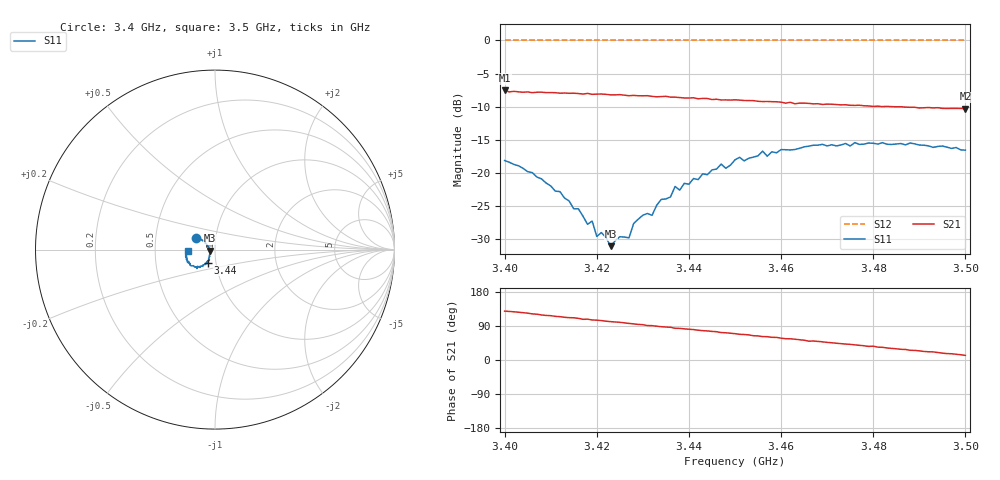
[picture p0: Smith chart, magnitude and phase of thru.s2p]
!Created with skrf (http://scikit-rf.org).
# MHz S RI R 50.0
!freq ReS11 ImS11 ReS21 ImS21 ReS12 ImS12 ReS22 ImS22
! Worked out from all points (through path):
!   101 points, 3.4 GHz to 3.5 GHz, reference 50 ohm
!   highest |S21| = -7.51 dB at 3.4 GHz (marker M1); lowest = -10.3 dB at 3.5 GHz (marker M2)
!   lowest |S11| = -31.1 dB at 3.423 GHz (marker M3), VSWR 1.06, Z = 47.3 - j0.6 ohm
!   |S11| at or under -10 dB: start of sweep to end of sweep
!   |S22| runs from - to - dB; largest |S21 - S12| = 1.3
!   S11 on the Smith chart (normalised r, x): 3.4 GHz: 0.80, +0.11; 3.44 GHz: 0.91, -0.13; 3.5 GHz: 0.74, -0.01
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3400  -0.1055 0.0651  -0.2649 0.3276  1 0  0 0
3412  -0.0561 0.0455  -0.1645 0.3644  1 0  0 0
3417  -0.0435 0.0182  -0.1175 0.3756  1 0  0 0
3418  -0.0367 0.018  -0.1216 0.3793  1 0  0 0
3419  -0.0405 0.0151  -0.1053 0.3774  1 0  0 0
3420  -0.0318 0.0093  -0.1026 0.3798  1 0  0 0
3421  -0.035 0.00523  -0.0956 0.3822  1 0  0 0
3423  -0.0272 -0.00633  -0.0753 0.3809  1 0  0 0
3425  -0.0287 -0.0162  -0.0646 0.3844  1 0  0 0
3427  -0.0258 -0.0195  -0.0436 0.38  1 0  0 0
3428  -0.0289 -0.0297  -0.0355 0.383  1 0  0 0
3430  -0.0308 -0.0367  -0.0213 0.3814  1 0  0 0
3432  -0.0301 -0.0371  -0.0044 0.3784  1 0  0 0
3434  -0.0358 -0.0519  0.0142 0.3767  1 0  0 0
3436  -0.031 -0.058  0.0236 0.3726  1 0  0 0
3437  -0.041 -0.0675  0.0415 0.3707  1 0  0 0
3438  -0.04 -0.0624  0.0419 0.3683  1 0  0 0
3440  -0.0395 -0.072  0.0562 0.363  1 0  0 0
3450  -0.0821 -0.0949  0.1252 0.3335  1 0  0 0
3467  -0.1345 -0.0898  0.213 0.2548  1 0  0 0
3484  -0.1572 -0.0465  0.2722 0.1612  1 0  0 0
3500  -0.1481 -0.00884  0.2986 0.0639  1 0  0 0
